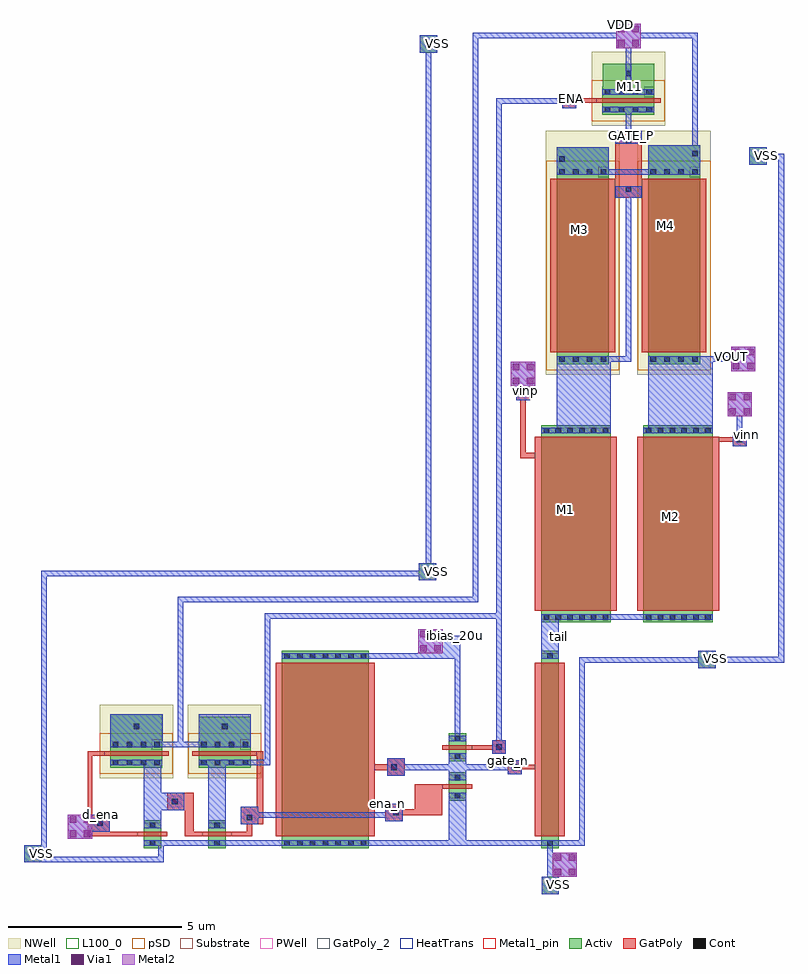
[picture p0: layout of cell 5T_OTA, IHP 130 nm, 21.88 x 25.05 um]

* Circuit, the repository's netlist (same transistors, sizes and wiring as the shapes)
** sch_path: /foss/designs/AMCD_Group1/4_Layout/LVS/5T_OTA.sch
.SUBCKT 5T_OTA ibias_20u vdd vss vinp vinn vout d_ena
*.PININFO ibias_20u:I vdd:B vss:B vinp:I vinn:I vout:O d_ena:I
M5 tail gate_n vss vss sg13_lv_nmos w=0.5u l=5u ng=1 m=1
M4 vout gate_p vdd vdd sg13_lv_pmos w=1.5u l=5u ng=1 m=1
M1 gate_p vinp tail vss sg13_lv_nmos w=2u l=5u ng=1 m=1
M2 vout vinn tail vss sg13_lv_nmos w=2u l=5u ng=1 m=1
M3 gate_p gate_p vdd vdd sg13_lv_pmos w=1.5u l=5u ng=1 m=1
M6 ibias_20u gate_n vss vss sg13_lv_nmos w=2.5u l=5u ng=5 m=1
M9 gate_n ena_n vss vss sg13_lv_nmos w=0.5u l=0.13u ng=1 m=1
M11 gate_p ena vdd vdd sg13_lv_pmos w=1.5u l=0.13u ng=1 m=1
M7 ena ena_n vss vss sg13_lv_nmos w=0.5u l=0.13u ng=1 m=1
M8 ena ena_n vdd vdd sg13_lv_pmos w=1.5u l=0.13u ng=1 m=1
M10 ibias_20u ena gate_n vss sg13_lv_nmos w=0.5u l=0.13u ng=1 m=1
M12 ena_n d_ena vss vss sg13_lv_nmos w=0.5u l=0.13u ng=1 m=1
M13 ena_n d_ena vdd vdd sg13_lv_pmos w=1.5u l=0.13u ng=1 m=1
.ENDS

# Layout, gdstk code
from math import pi, radians
import gdstk
lib = gdstk.Library(unit=1e-6, precision=1e-09)
def R(c, l, rs):  # rectangles x0, y0, x1, y1
    for r in rs: c.add(gdstk.rectangle(r[:2], r[2:], *l))
def A(c, l, x, y, w, h, nx, ny, dx, dy):  # array of equal rectangles
    R(c, l, [(x+i*dx, y+j*dy, x+i*dx+w, y+j*dy+h) for i in range(nx) for j in range(ny)])
def P(c, l, *ps):  # polygons
    for p in ps: c.add(gdstk.Polygon(p, *l))
Activ = (1, 0)
GatPoly = (5, 0)
GatPoly_2 = (5, 2)
Cont = (6, 0)
Metal1 = (8, 0)
Metal1_pin = (8, 2)
Metal2 = (10, 0)
pSD = (14, 0)
Via1 = (19, 0)
NWell = (31, 0)
Substrate = (40, 0)
PWell = (46, 0)
HeatTrans = (51, 0)
L100_0 = (100, 0)

via_stack = lib.new_cell('via_stack')
R(via_stack, Metal1, [(-0.35,-0.35,0.35,0.35)])
R(via_stack, Metal2, [(-0.35,-0.35,0.35,0.35)])
R(via_stack, Via1, [(-0.3,-0.3,-0.11,-0.11), (0.11,-0.3,0.3,-0.11), (-0.3,0.11,-0.11,0.3), (0.11,0.11,0.3,0.3)])

pmos_1 = lib.new_cell('pmos$1')
R(pmos_1, Activ, [(0,0,0.3,0.3), (0,0,0.81,1.5), (0.51,0,0.81,0.3)])
R(pmos_1, GatPoly, [(0.34,-0.18,0.47,1.68), (0.34,-0.18,0.47,1.68)])
A(pmos_1, Cont, 0.07, 0.07, 0.16, 0.16, 1, 4, 0, 0.4)
A(pmos_1, Cont, 0.58, 0.07, 0.16, 0.16, 1, 4, 0, 0.4)
R(pmos_1, Metal1, [(0.07,0,0.23,1.5), (0.07,0,0.23,1.5), (0.58,0,0.74,1.5), (0.58,0,0.74,1.5)])
R(pmos_1, pSD, [(-0.18,-0.3,0.99,1.8)])
R(pmos_1, NWell, [(-0.31,-0.31,1.12,1.81)])
R(pmos_1, Substrate, [(0.51,0,0.81,0.3)])
R(pmos_1, HeatTrans, [(0.34,-0.18,0.47,1.68)])
pmos_1.add(gdstk.Label('pmos', (0.405,0.75), layer=63, texttype=0))
pmos_1.add(gdstk.Label('pmos', (0.405,0.75), layer=51, texttype=0))

pmos_2 = lib.new_cell('pmos$2')
R(pmos_2, Activ, [(0,0,0.3,0.3), (0,0,5.68,1.5), (5.38,0,5.68,0.3)])
R(pmos_2, GatPoly, [(0.34,-0.18,5.34,1.68), (0.34,-0.18,5.34,1.68)])
A(pmos_2, Cont, 0.07, 0.07, 0.16, 0.16, 1, 4, 0, 0.4)
A(pmos_2, Cont, 5.45, 0.07, 0.16, 0.16, 1, 4, 0, 0.4)
R(pmos_2, Metal1, [(0.07,0,0.23,1.5), (0.07,0,0.23,1.5), (5.45,0,5.61,1.5), (5.45,0,5.61,1.5)])
R(pmos_2, pSD, [(-0.18,-0.3,5.86,1.8)])
R(pmos_2, NWell, [(-0.31,-0.31,5.99,1.81)])
R(pmos_2, Substrate, [(5.38,0,5.68,0.3)])
R(pmos_2, HeatTrans, [(0.34,-0.18,5.34,1.68)])
pmos_2.add(gdstk.Label('pmos', (2.84,0.75), layer=63, texttype=0))
pmos_2.add(gdstk.Label('pmos', (2.84,0.75), layer=51, texttype=0))

nmos_1 = lib.new_cell('nmos$1')
R(nmos_1, Activ, [(0,0,0.3,0.3), (0,0,5.68,2), (5.38,0,5.68,0.3)])
R(nmos_1, GatPoly, [(0.34,-0.18,5.34,2.18)])
R(nmos_1, GatPoly_2, [(0.34,-0.18,5.34,2.18)])
A(nmos_1, Cont, 0.07, 0.07, 0.16, 0.16, 1, 6, 0, 0.34)
A(nmos_1, Cont, 5.45, 0.07, 0.16, 0.16, 1, 6, 0, 0.34)
R(nmos_1, Metal1, [(0.07,0,0.23,2), (5.45,0,5.61,2)])
R(nmos_1, Metal1_pin, [(0.07,0,0.23,2), (5.45,0,5.61,2)])
R(nmos_1, HeatTrans, [(0.34,-0.18,5.34,2.18)])
nmos_1.add(gdstk.Label('nmos', (2.84,1), layer=63, texttype=0))
nmos_1.add(gdstk.Label('nmos', (2.84,1), layer=51, texttype=0))

nmos = lib.new_cell('nmos')
R(nmos, Activ, [(0,0,0.3,0.3), (0,0,5.68,0.5), (5.38,0,5.68,0.3)])
R(nmos, GatPoly, [(0.34,-0.18,5.34,0.68)])
R(nmos, GatPoly_2, [(0.34,-0.18,5.34,0.68)])
R(nmos, Cont, [(0.07,0.17,0.23,0.33), (5.45,0.17,5.61,0.33)])
R(nmos, Metal1, [(0.07,0,0.23,0.5), (5.45,0,5.61,0.5)])
R(nmos, Metal1_pin, [(0.07,0,0.23,0.5), (5.45,0,5.61,0.5)])
R(nmos, HeatTrans, [(0.34,-0.18,5.34,0.68)])
nmos.add(gdstk.Label('nmos', (2.84,0.25), layer=63, texttype=0))
nmos.add(gdstk.Label('nmos', (2.84,0.25), layer=51, texttype=0))

nmos_3 = lib.new_cell('nmos$3')
R(nmos_3, Activ, [(0,0,0.3,0.3), (0,0,0.81,0.5), (0.51,0,0.81,0.3)])
R(nmos_3, GatPoly, [(0.34,-0.18,0.47,0.68)])
R(nmos_3, GatPoly_2, [(0.34,-0.18,0.47,0.68)])
R(nmos_3, Cont, [(0.07,0.17,0.23,0.33), (0.58,0.17,0.74,0.33)])
R(nmos_3, Metal1, [(0.07,0,0.23,0.5), (0.58,0,0.74,0.5)])
R(nmos_3, Metal1_pin, [(0.07,0,0.23,0.5), (0.58,0,0.74,0.5)])
R(nmos_3, HeatTrans, [(0.34,-0.18,0.47,0.68)])
nmos_3.add(gdstk.Label('nmos', (0.405,0.25), layer=63, texttype=0))
nmos_3.add(gdstk.Label('nmos', (0.405,0.25), layer=51, texttype=0))

nmos_5 = lib.new_cell('nmos$5')
R(nmos_5, Activ, [(0,0,0.3,0.3), (0,0,5.68,2.5), (5.38,0,5.68,0.3)])
R(nmos_5, GatPoly, [(0.34,-0.18,5.34,2.68)])
R(nmos_5, GatPoly_2, [(0.34,-0.18,5.34,2.68)])
A(nmos_5, Cont, 0.07, 0.07, 0.16, 0.16, 1, 3, 0, 0.365)
A(nmos_5, Cont, 5.45, 0.07, 0.16, 0.16, 1, 3, 0, 0.365)
A(nmos_5, Cont, 0.07, 1.17, 0.16, 0.16, 1, 3, 0, 0.365)
A(nmos_5, Cont, 5.45, 1.17, 0.16, 0.16, 1, 3, 0, 0.365)
R(nmos_5, Cont, [(0.07,2.27,0.23,2.43), (5.45,2.27,5.61,2.43)])
R(nmos_5, Metal1, [(0.07,0,0.23,2.5), (5.45,0,5.61,2.5)])
R(nmos_5, Metal1_pin, [(0.07,0,0.23,2.5), (5.45,0,5.61,2.5)])
R(nmos_5, HeatTrans, [(0.34,-0.18,5.34,2.68)])
nmos_5.add(gdstk.Label('nmos', (2.84,1.25), layer=63, texttype=0))
nmos_5.add(gdstk.Label('nmos', (2.84,1.25), layer=51, texttype=0))

c_5t_ota = lib.new_cell('5T_OTA')
R(c_5t_ota, Activ, [(-2.5,-24.5,-2,-24), (-17.4,-23.59,-16.9,-23.09), (-12.375,-20.12,-10.875,-19.4), (-14.915,-20.05,-13.415,-19.33), (2.01,-18,2.51,-17.5), (-6.03,-15.47,-5.53,-14.97), (-2.065,-3.565,-0.565,-2.995), (0.565,-3.565,2.065,-2.945), (3.48,-3.5,3.98,-3), (-0.74,-1.255,0.75,-0.6), (-6,-0.28,-5.5,0.22)])
R(c_5t_ota, GatPoly, [(-11.415,-22.84,-10.985,-22.71), (-15.435,-22.71,-14.935,-22.21), (-11.16,-22.485,-10.66,-21.985), (-10.695,-22.485,-10.515,-20.39), (-7,-22.4,-6.5,-21.9), (-6.145,-22.225,-5.355,-21.34), (-6.94,-21.095,-6.44,-20.595), (-3.475,-21.055,-3.075,-20.655), (-3.075,-20.91,-2.505,-20.78), (-3.925,-20.465,-3.525,-20.065), (-4.495,-20.34,-3.925,-20.21), (3.005,-11.605,3.405,-11.205), (2.435,-11.48,3.005,-11.35), (-3.23,-10.28,-2.83,-9.88), (-0.385,-4.455,0.385,-2.52), (-1.9,-1.87,-1.5,-1.47), (-1.5,-1.725,-0.93,-1.595)])
P(c_5t_ota, GatPoly, [(-12.765,-22.84),(-12.765,-22.085),(-13.28,-22.085),(-13.28,-21.585),(-12.52,-21.585),(-12.52,-22.71),(-12.275,-22.71),(-12.275,-22.84)])
R(c_5t_ota, Cont, [(-2.345,-24.335,-2.185,-24.175), (-17.245,-23.425,-17.085,-23.265), (-15.295,-22.54,-15.135,-22.38), (-10.985,-22.37,-10.825,-22.21), (-6.775,-22.225,-6.615,-22.065), (-13.14,-21.915,-12.98,-21.755), (-6.825,-20.93,-6.665,-20.77), (-3.355,-20.93,-3.195,-20.77), (-3.805,-20.35,-3.645,-20.19), (-14.24,-19.75,-14.08,-19.59), (-11.7,-19.75,-11.54,-19.59), (2.165,-17.835,2.325,-17.675), (-5.875,-15.305,-5.715,-15.145), (3.125,-11.49,3.285,-11.33), (-3.11,-10.155,-2.95,-9.995), (-0.08,-4.285,0.08,-4.125), (-1.995,-3.415,-1.835,-3.255), (3.635,-3.335,3.795,-3.175), (1.835,-3.255,1.995,-3.095), (-0.08,-2.9,0.08,-2.74), (-1.78,-1.745,-1.62,-1.585), (-0.08,-0.955,0.08,-0.795), (-5.845,-0.115,-5.685,0.045)])
R(c_5t_ota, Metal1, [(-2.5,-24.5,-2,-24), (-17.4,-23.59,-16.9,-23.09), (-5.175,-22.95,-4.675,-21.74), (-15.435,-22.71,-14.935,-22.21), (-11.16,-22.485,-10.66,-21.985), (-13.955,-22.44,-13.455,-20.79), (-12.095,-22.44,-11.595,-20.79), (-7,-22.4,-6.5,-21.9), (-13.455,-22.085,-13.28,-21.585), (-13.28,-22.085,-12.78,-21.585), (-6.94,-21.095,-6.44,-20.595), (-5.175,-21.07,-4.675,-20.61), (-3.475,-21.055,-3.075,-20.655), (-3.925,-20.465,-3.525,-20.065), (-14.91,-20.12,-13.41,-19.33), (-12.375,-20.12,-10.875,-19.33), (2.01,-18,2.51,-17.5), (-5.345,-17.57,-4.845,-17.07), (-2.51,-17.57,-2.01,-16.61), (-6.03,-15.47,-5.53,-14.97), (3.005,-11.605,3.405,-11.205), (-2.065,-11.075,-0.51,-9.175), (0.565,-11.07,2.435,-9.17), (-3.23,-10.28,-2.83,-9.88), (-0.385,-4.455,0.385,-4.125), (-2.065,-3.635,-0.565,-2.995), (0.565,-3.635,2.065,-2.945), (3.48,-3.5,3.98,-3), (-0.385,-2.9,0.385,-2.52), (-1.9,-1.87,-1.5,-1.47), (-6,-0.28,-5.5,0.22)])
R(c_5t_ota, pSD, [(-2.5,-24.5,-2,-24), (-17.4,-23.59,-16.9,-23.09), (2.01,-18,2.51,-17.5), (-6.03,-15.47,-5.53,-14.97), (3.48,-3.5,3.98,-3), (-6,-0.28,-5.5,0.22)])
R(c_5t_ota, NWell, [(-15.225,-19.74,-13.105,-19.055), (-12.685,-19.74,-10.565,-19.055), (-2.375,-3.255,-0.255,-2.52), (0.255,-3.255,2.375,-2.52), (-1.06,-0.945,1.06,-0.25)])
R(c_5t_ota, PWell, [(-2.5,-24.5,-2,-24), (-17.4,-23.59,-16.9,-23.09), (2.01,-18,2.51,-17.5), (-6.03,-15.47,-5.53,-14.97), (3.48,-3.5,3.98,-3), (-6,-0.28,-5.5,0.22)])
R(c_5t_ota, L100_0, [(-2.346,-24.336,-2.184,-24.174), (-2.346,-24.336,-2.184,-24.174), (-17.246,-23.426,-17.084,-23.264), (-17.246,-23.426,-17.084,-23.264), (-13.786,-23.111,-13.624,-22.949), (-13.786,-23.111,-13.624,-22.949), (-11.926,-23.111,-11.764,-22.949), (-11.926,-23.111,-11.764,-22.949), (-9.906,-23.111,-9.744,-22.949), (-9.906,-23.111,-9.744,-22.949), (-9.536,-23.111,-9.374,-22.949), (-9.536,-23.111,-9.374,-22.949), (-9.171,-23.111,-9.009,-22.949), (-9.171,-23.111,-9.009,-22.949), (-8.806,-23.111,-8.644,-22.949), (-8.806,-23.111,-8.644,-22.949), (-8.436,-23.111,-8.274,-22.949), (-8.436,-23.111,-8.274,-22.949), (-8.071,-23.111,-7.909,-22.949), (-8.071,-23.111,-7.909,-22.949), (-7.706,-23.111,-7.544,-22.949), (-7.706,-23.111,-7.544,-22.949), (-2.341,-23.111,-2.179,-22.949), (-2.341,-23.111,-2.179,-22.949), (-13.786,-22.601,-13.624,-22.439), (-13.786,-22.601,-13.624,-22.439), (-11.926,-22.601,-11.764,-22.439), (-11.926,-22.601,-11.764,-22.439), (-5.006,-21.741,-4.844,-21.579), (-5.006,-21.741,-4.844,-21.579), (-5.006,-21.231,-4.844,-21.069), (-5.006,-21.231,-4.844,-21.069), (-14.846,-20.791,-14.684,-20.629), (-14.846,-20.791,-14.684,-20.629), (-14.446,-20.791,-14.284,-20.629), (-14.446,-20.791,-14.284,-20.629), (-14.046,-20.791,-13.884,-20.629), (-14.046,-20.791,-13.884,-20.629), (-13.646,-20.791,-13.484,-20.629), (-13.646,-20.791,-13.484,-20.629), (-12.306,-20.791,-12.144,-20.629), (-12.306,-20.791,-12.144,-20.629), (-11.906,-20.791,-11.744,-20.629), (-11.906,-20.791,-11.744,-20.629), (-11.506,-20.791,-11.344,-20.629), (-11.506,-20.791,-11.344,-20.629), (-11.106,-20.791,-10.944,-20.629), (-11.106,-20.791,-10.944,-20.629), (-5.006,-20.611,-4.844,-20.449), (-5.006,-20.611,-4.844,-20.449), (-14.846,-20.281,-14.684,-20.119), (-14.846,-20.281,-14.684,-20.119), (-14.446,-20.281,-14.284,-20.119), (-14.446,-20.281,-14.284,-20.119), (-14.046,-20.281,-13.884,-20.119), (-14.046,-20.281,-13.884,-20.119), (-13.646,-20.281,-13.484,-20.119), (-13.646,-20.281,-13.484,-20.119), (-12.306,-20.281,-12.144,-20.119), (-12.306,-20.281,-12.144,-20.119), (-11.906,-20.281,-11.744,-20.119), (-11.906,-20.281,-11.744,-20.119), (-11.506,-20.281,-11.344,-20.119), (-11.506,-20.281,-11.344,-20.119), (-11.106,-20.281,-10.944,-20.119), (-11.106,-20.281,-10.944,-20.119), (-5.006,-20.101,-4.844,-19.939), (-5.006,-20.101,-4.844,-19.939), (-14.241,-19.751,-14.079,-19.589), (-14.241,-19.751,-14.079,-19.589), (-11.701,-19.751,-11.539,-19.589), (-11.701,-19.751,-11.539,-19.589), (2.164,-17.836,2.326,-17.674), (2.164,-17.836,2.326,-17.674), (-9.906,-17.731,-9.744,-17.569), (-9.906,-17.731,-9.744,-17.569), (-9.536,-17.731,-9.374,-17.569), (-9.536,-17.731,-9.374,-17.569), (-9.171,-17.731,-9.009,-17.569), (-9.171,-17.731,-9.009,-17.569), (-8.806,-17.731,-8.644,-17.569), (-8.806,-17.731,-8.644,-17.569), (-8.436,-17.731,-8.274,-17.569), (-8.436,-17.731,-8.274,-17.569), (-8.071,-17.731,-7.909,-17.569), (-8.071,-17.731,-7.909,-17.569), (-7.706,-17.731,-7.544,-17.569), (-7.706,-17.731,-7.544,-17.569), (-2.341,-17.731,-2.179,-17.569), (-2.341,-17.731,-2.179,-17.569), (-2.441,-16.611,-2.279,-16.449), (-2.441,-16.611,-2.279,-16.449), (-2.101,-16.611,-1.939,-16.449), (-2.101,-16.611,-1.939,-16.449), (-1.761,-16.611,-1.599,-16.449), (-1.761,-16.611,-1.599,-16.449), (-1.421,-16.611,-1.259,-16.449), (-1.421,-16.611,-1.259,-16.449), (-1.081,-16.611,-0.919,-16.449), (-1.081,-16.611,-0.919,-16.449), (-0.741,-16.611,-0.579,-16.449), (-0.741,-16.611,-0.579,-16.449), (0.504,-16.611,0.666,-16.449), (0.504,-16.611,0.666,-16.449), (0.844,-16.611,1.006,-16.449), (0.844,-16.611,1.006,-16.449), (1.184,-16.611,1.346,-16.449), (1.184,-16.611,1.346,-16.449), (1.524,-16.611,1.686,-16.449), (1.524,-16.611,1.686,-16.449), (1.864,-16.611,2.026,-16.449), (1.864,-16.611,2.026,-16.449), (2.204,-16.611,2.366,-16.449), (2.204,-16.611,2.366,-16.449), (-5.876,-15.306,-5.714,-15.144), (-5.876,-15.306,-5.714,-15.144), (-2.441,-11.231,-2.279,-11.069), (-2.441,-11.231,-2.279,-11.069), (-2.101,-11.231,-1.939,-11.069), (-2.101,-11.231,-1.939,-11.069), (-1.761,-11.231,-1.599,-11.069), (-1.761,-11.231,-1.599,-11.069), (-1.421,-11.231,-1.259,-11.069), (-1.421,-11.231,-1.259,-11.069), (-1.081,-11.231,-0.919,-11.069), (-1.081,-11.231,-0.919,-11.069), (-0.741,-11.231,-0.579,-11.069), (-0.741,-11.231,-0.579,-11.069), (0.504,-11.231,0.666,-11.069), (0.504,-11.231,0.666,-11.069), (0.844,-11.231,1.006,-11.069), (0.844,-11.231,1.006,-11.069), (1.184,-11.231,1.346,-11.069), (1.184,-11.231,1.346,-11.069), (1.524,-11.231,1.686,-11.069), (1.524,-11.231,1.686,-11.069), (1.864,-11.231,2.026,-11.069), (1.864,-11.231,2.026,-11.069), (2.204,-11.231,2.366,-11.069), (2.204,-11.231,2.366,-11.069), (-1.996,-9.176,-1.834,-9.014), (-1.996,-9.176,-1.834,-9.014), (-1.596,-9.176,-1.434,-9.014), (-1.596,-9.176,-1.434,-9.014), (-1.196,-9.176,-1.034,-9.014), (-1.196,-9.176,-1.034,-9.014), (-0.796,-9.176,-0.634,-9.014), (-0.796,-9.176,-0.634,-9.014), (0.634,-9.176,0.796,-9.014), (0.634,-9.176,0.796,-9.014), (1.034,-9.176,1.196,-9.014), (1.034,-9.176,1.196,-9.014), (1.434,-9.176,1.596,-9.014), (1.434,-9.176,1.596,-9.014), (1.834,-9.176,1.996,-9.014), (1.834,-9.176,1.996,-9.014), (-1.996,-3.796,-1.834,-3.634), (-1.996,-3.796,-1.834,-3.634), (-1.596,-3.796,-1.434,-3.634), (-1.596,-3.796,-1.434,-3.634), (-1.196,-3.796,-1.034,-3.634), (-1.196,-3.796,-1.034,-3.634), (-0.796,-3.796,-0.634,-3.634), (-0.796,-3.796,-0.634,-3.634), (0.634,-3.796,0.796,-3.634), (0.634,-3.796,0.796,-3.634), (1.034,-3.796,1.196,-3.634), (1.034,-3.796,1.196,-3.634), (1.434,-3.796,1.596,-3.634), (1.434,-3.796,1.596,-3.634), (1.834,-3.796,1.996,-3.634), (1.834,-3.796,1.996,-3.634), (-1.996,-3.416,-1.834,-3.254), (-1.996,-3.416,-1.834,-3.254), (3.634,-3.336,3.796,-3.174), (3.634,-3.336,3.796,-3.174), (1.834,-3.256,1.996,-3.094), (1.834,-3.256,1.996,-3.094), (-0.681,-1.996,-0.519,-1.834), (-0.681,-1.996,-0.519,-1.834), (-0.281,-1.996,-0.119,-1.834), (-0.281,-1.996,-0.119,-1.834), (0.119,-1.996,0.281,-1.834), (0.119,-1.996,0.281,-1.834), (0.519,-1.996,0.681,-1.834), (0.519,-1.996,0.681,-1.834), (-0.681,-1.486,-0.519,-1.324), (-0.681,-1.486,-0.519,-1.324), (-0.281,-1.486,-0.119,-1.324), (-0.281,-1.486,-0.119,-1.324), (0.119,-1.486,0.281,-1.324), (0.119,-1.486,0.281,-1.324), (0.519,-1.486,0.681,-1.324), (0.519,-1.486,0.681,-1.324), (-0.081,-0.956,0.081,-0.794), (-0.081,-0.956,0.081,-0.794), (-5.846,-0.116,-5.684,0.046), (-5.846,-0.116,-5.684,0.046)])
c_5t_ota.add(gdstk.FlexPath([(-12.9,-20.12),(-12.9,-16.02),(-4.4,-16.02),(-4.4,0.215),(-0.35,0.215)], 0.16, ends="flush", simple_path=True, layer=8, datatype=0))  # Metal1
c_5t_ota.add(gdstk.FlexPath([(-5.999,-15.27),(-16.82,-15.27),(-16.82,-23.51),(-13.45,-23.51),(-13.45,-23.11)], 0.16, ends="flush", simple_path=True, layer=8, datatype=0))  # Metal1
c_5t_ota.add(gdstk.FlexPath([(-5.76,-15.004),(-5.76,-0.286),(-5.76,-0.28)], 0.16, ends="flush", simple_path=True, layer=8, datatype=0))  # Metal1
c_5t_ota.add(gdstk.FlexPath([(-2.01,-23.03),(-1.33,-23.03),(-1.33,-17.76),(2.01,-17.76),(2.01,-17.76)], 0.16, ends="flush", simple_path=True, layer=8, datatype=0))  # Metal1
c_5t_ota.add(gdstk.FlexPath([(2.509,-17.755),(3.195,-17.755),(4.4,-17.755),(4.4,-3.265),(3.98,-3.265)], 0.16, ends="flush", simple_path=True, layer=8, datatype=0))  # Metal1
c_5t_ota.add(gdstk.FlexPath([(-14.16,-19.59),(-14.16,-20.12)], 0.16, ends="flush", simple_path=True, layer=8, datatype=0))  # Metal1
c_5t_ota.add(gdstk.FlexPath([(0,-1.325),(0,-0.15),(0,-0.15)], 0.16, ends="flush", simple_path=True, layer=8, datatype=0))  # Metal1
c_5t_ota.add(gdstk.FlexPath([(-10.66,-22.23),(-7,-22.23),(-7,-22.23),(-7,-22.23)], 0.16, ends="flush", simple_path=True, layer=8, datatype=0))  # Metal1
c_5t_ota.add(gdstk.FlexPath([(0,-1.995),(0,-2.9)], 0.16, ends="flush", simple_path=True, layer=8, datatype=0))  # Metal1
c_5t_ota.add(gdstk.FlexPath([(-2.26,-24),(-2.26,-23.11)], 0.16, ends="flush", simple_path=True, layer=8, datatype=0))  # Metal1
c_5t_ota.add(gdstk.FlexPath([(0.565,-3.715),(-0.565,-3.715)], 0.16, ends="flush", simple_path=True, layer=8, datatype=0))  # Metal1
c_5t_ota.add(gdstk.FlexPath([(1.915,-3.635),(1.915,0.215),(0.35,0.215)], 0.16, ends="flush", simple_path=True, layer=8, datatype=0))  # Metal1
c_5t_ota.add(gdstk.FlexPath([(-1.915,-3.635),(-1.915,-3.255)], 0.16, ends="flush", simple_path=True, layer=8, datatype=0))  # Metal1
c_5t_ota.add(gdstk.FlexPath([(0,-4.125),(0,-9.095),(-0.565,-9.095)], 0.16, ends="flush", simple_path=True, layer=8, datatype=0))  # Metal1
c_5t_ota.add(gdstk.FlexPath([(2.065,-9.095),(2.955,-9.095)], 0.16, ends="flush", simple_path=True, layer=8, datatype=0))  # Metal1
c_5t_ota.add(gdstk.FlexPath([(0.435,-16.53),(-0.51,-16.53),(-0.51,-16.53)], 0.16, ends="flush", simple_path=True, layer=8, datatype=0))  # Metal1
c_5t_ota.add(gdstk.FlexPath([(-3.475,-20.85),(-4.675,-20.85)], 0.16, ends="flush", simple_path=True, layer=8, datatype=0))  # Metal1
c_5t_ota.add(gdstk.FlexPath([(3.205,-11.49),(3.205,-10.75)], 0.16, ends="flush", simple_path=True, layer=8, datatype=0))  # Metal1
c_5t_ota.add(gdstk.FlexPath([(-2.51,-23.03),(-13.955,-23.03)], 0.16, ends="flush", simple_path=True, layer=8, datatype=0))  # Metal1
c_5t_ota.add(gdstk.FlexPath([(-7.475,-17.65),(-4.925,-17.65),(-4.925,-19.94)], 0.16, ends="flush", simple_path=True, layer=8, datatype=0))  # Metal1
c_5t_ota.add(gdstk.FlexPath([(-5.175,-20.85),(-6.825,-20.85)], 0.16, ends="flush", simple_path=True, layer=8, datatype=0))  # Metal1
c_5t_ota.add(gdstk.FlexPath([(-1.9,-1.665),(-3.725,-1.665),(-3.725,-20.065),(-3.725,-20.065)], 0.16, ends="flush", simple_path=True, layer=8, datatype=0))  # Metal1
c_5t_ota.add(gdstk.FlexPath([(-13.415,-20.2),(-12.375,-20.2),(-12.375,-20.2),(-12.375,-20.2)], 0.16, ends="flush", simple_path=True, layer=8, datatype=0))  # Metal1
c_5t_ota.add(gdstk.FlexPath([(-11.62,-19.59),(-11.62,-20.12)], 0.16, ends="flush", simple_path=True, layer=8, datatype=0))  # Metal1
c_5t_ota.add(gdstk.FlexPath([(-3.805,-16.5),(-10.39,-16.5),(-10.39,-20.71),(-10.875,-20.71),(-10.875,-20.71)], 0.16, ends="flush", simple_path=True, layer=8, datatype=0))  # Metal1
c_5t_ota.add(gdstk.FlexPath([(-3.03,-10.28),(-3.03,-11.875),(-2.69,-11.875)], 0.16, ends="flush", simple_path=True, layer=5, datatype=0))  # GatPoly
c_5t_ota.add(gdstk.FlexPath([(-7.295,-20.85),(-6.62,-20.85),(-6.62,-20.85)], 0.16, ends="flush", simple_path=True, layer=5, datatype=0))  # GatPoly
c_5t_ota.add(gdstk.FlexPath([(-6.145,-22.145),(-6.82,-22.145),(-6.82,-22.145)], 0.16, ends="flush", simple_path=True, layer=5, datatype=0))  # GatPoly
c_5t_ota.add(gdstk.FlexPath([(-10.905,-22.84),(-10.905,-22.165),(-10.905,-22.165)], 0.16, ends="flush", simple_path=True, layer=5, datatype=0))  # GatPoly
c_5t_ota.add(gdstk.FlexPath([(-14.135,-22.775),(-15.5,-22.775),(-15.5,-20.455),(-15.095,-20.455)], 0.13, ends="flush", simple_path=True, layer=5, datatype=0))  # GatPoly
c_5t_ota.add(gdstk.Reference(via_stack, (0,0.2), rotation=pi/2))
c_5t_ota.add(gdstk.Reference(pmos_1, (0.75,-2.065), rotation=pi/2))
c_5t_ota.add(gdstk.Reference(pmos_2, (-0.565,-9.245), rotation=pi/2))
c_5t_ota.add(gdstk.Reference(nmos_1, (-0.51,-16.68), rotation=pi/2))
c_5t_ota.add(gdstk.Reference(nmos_1, (2.435,-16.68), rotation=pi/2))
c_5t_ota.add(gdstk.Reference(pmos_2, (2.065,-9.245), rotation=pi/2))
c_5t_ota.add(gdstk.Reference(nmos, (-2.01,-23.18), rotation=pi/2))
c_5t_ota.add(gdstk.Reference(nmos_3, (-4.675,-20.68), rotation=pi/2))
c_5t_ota.add(gdstk.Reference(nmos_3, (-4.675,-21.81), rotation=pi/2))
c_5t_ota.add(gdstk.Reference(nmos_5, (-7.475,-23.18), rotation=pi/2))
c_5t_ota.add(gdstk.Reference(nmos_3, (-13.455,-23.18), rotation=pi/2))
c_5t_ota.add(gdstk.Reference(nmos_3, (-11.595,-23.18), rotation=pi/2))
c_5t_ota.add(gdstk.Reference(pmos_1, (-10.875,-20.86), rotation=pi/2))
c_5t_ota.add(gdstk.Reference(pmos_1, (-13.415,-20.86), rotation=pi/2))
c_5t_ota.add(gdstk.Reference(via_stack, (3.205,-10.4), rotation=pi/2))
c_5t_ota.add(gdstk.Reference(via_stack, (3.305,-9.095), rotation=pi/2))
c_5t_ota.add(gdstk.Reference(via_stack, (-3.03,-9.53), rotation=pi/2))
c_5t_ota.add(gdstk.Reference(via_stack, (-15.785,-22.56), rotation=pi/2))
c_5t_ota.add(gdstk.Reference(via_stack, (-1.83,-23.655), rotation=pi/2))
c_5t_ota.add(gdstk.Reference(via_stack, (-5.695,-17.22), rotation=pi/2))
c_5t_ota.add(gdstk.Label('M1', (-1.81,-13.44), layer=63, texttype=0))
c_5t_ota.add(gdstk.Label('M2', (1.215,-13.625), layer=63, texttype=0))
c_5t_ota.add(gdstk.Label('M3', (-1.415,-5.375), layer=63, texttype=0))
c_5t_ota.add(gdstk.Label('M4', (1.08,-5.265), layer=63, texttype=0))
c_5t_ota.add(gdstk.Label('M11', (0.035,-1.255), layer=63, texttype=0))
c_5t_ota.add(gdstk.Label('VSS', (-5.53,-15.2), layer=8, texttype=25))
c_5t_ota.add(gdstk.Label('VSS', (2.51,-17.73), layer=8, texttype=25))
c_5t_ota.add(gdstk.Label('VSS', (-5.5,-0.02), layer=8, texttype=25))
c_5t_ota.add(gdstk.Label('VSS', (3.98,-3.24), layer=8, texttype=25))
c_5t_ota.add(gdstk.Label('VSS', (-16.9,-23.33), layer=8, texttype=25))
c_5t_ota.add(gdstk.Label('VDD', (-0.22,0.545), layer=8, texttype=25))
c_5t_ota.add(gdstk.Label('ENA', (-1.635,-1.595), layer=8, texttype=25))
c_5t_ota.add(gdstk.Label('GATE_P', (0.08,-2.66), layer=8, texttype=25))
c_5t_ota.add(gdstk.Label('VOUT', (2.955,-9.015), layer=8, texttype=25))
c_5t_ota.add(gdstk.Label('vinp', (-2.965,-10.005), layer=8, texttype=25))
c_5t_ota.add(gdstk.Label('tail', (-2.015,-17.08), layer=8, texttype=25))
c_5t_ota.add(gdstk.Label('VSS', (-2,-24.235), layer=8, texttype=25))
c_5t_ota.add(gdstk.Label('vinn', (3.405,-11.28), layer=8, texttype=25))
c_5t_ota.add(gdstk.Label('gate_n', (-3.465,-20.665), layer=8, texttype=25))
c_5t_ota.add(gdstk.Label('ibias_20u', (-4.985,-17.07), layer=8, texttype=25))
c_5t_ota.add(gdstk.Label('ena_n', (-6.94,-21.9), layer=8, texttype=25))
c_5t_ota.add(gdstk.Label('d_ena', (-15.21,-22.21), layer=8, texttype=25))

lib.write_gds('5T_OTA.gds')
